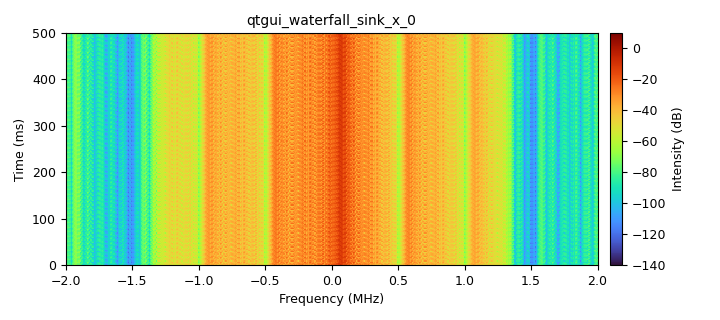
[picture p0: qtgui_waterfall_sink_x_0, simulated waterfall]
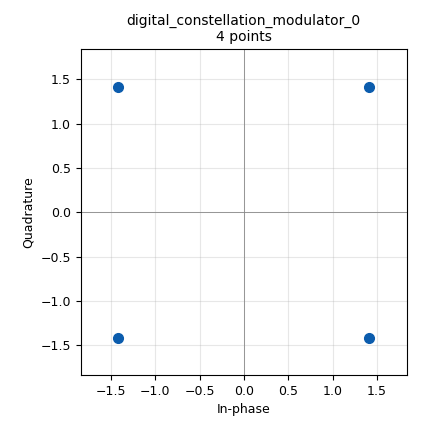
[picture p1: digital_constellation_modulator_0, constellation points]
options:
  parameters:
    generate_options: qt_gui
    id: digitaljampe
    output_language: python
    title: digitaljampe
  states: {}

blocks:
- name: centerfreq
  id: variable_qtgui_range
  parameters:
    orient: Qt.Horizontal
    start: 2.00e9
    step: .01e8
    stop: 2.51e9
    value: 2.5e9
  states: {}
- name: const
  id: variable_constellation
  parameters:
    precision: '8'
    type: dqpsk
  states: {}
- name: samp_rate
  id: variable
  parameters:
    value: 4e6
  states: {}
- name: analog_random_source_x_0
  id: analog_random_source_x
  parameters:
    max: '2'
    min: '0'
    num_samps: '1000'
    repeat: 'True'
    type: byte
  states: {}
- name: digital_constellation_modulator_0
  id: digital_constellation_modulator
  parameters:
    constellation: const
    differential: 'True'
    excess_bw: '0.35'
    samples_per_symbol: '2'
  states: {}
- name: osmosdr_sink_0
  id: osmosdr_sink
  parameters:
    bb_gain0: '0'
    freq0: centerfreq
    gain0: '0'
    if_gain0: '32'
    sample_rate: samp_rate
    sync: sync
    type: fc32
  states: {}
- name: qtgui_waterfall_sink_x_0
  id: qtgui_waterfall_sink_x
  parameters:
    bw: samp_rate
    fc: '0'
    fftsize: '1024'
    type: complex
    wintype: firdes.WIN_BLACKMAN_hARRIS
  states: {}

connections:
- [analog_random_source_x_0, '0', digital_constellation_modulator_0, '0']
- [digital_constellation_modulator_0, '0', osmosdr_sink_0, '0']
- [digital_constellation_modulator_0, '0', qtgui_waterfall_sink_x_0, '0']

metadata:
  file_format: 1
